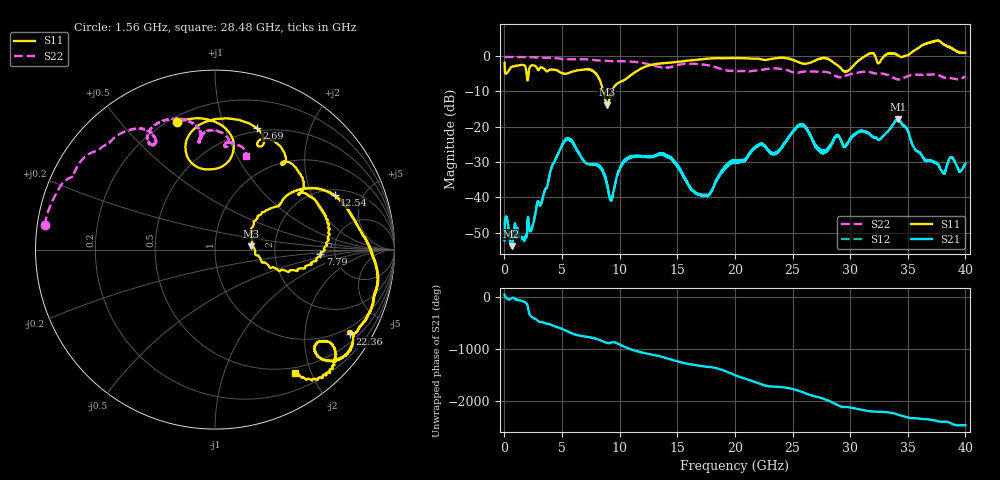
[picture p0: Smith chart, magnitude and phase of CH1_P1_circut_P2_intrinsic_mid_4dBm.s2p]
!Keysight Technologies,N5222B,MY61257109,A.17.25.03
!Date: Wednesday, July 22, 2026 17:36:06
!Correction: S11(C  2-Port  )
!S21(C  2-Port  )
!S12(C  2-Port  )
!S22(C  2-Port  )
!S2P File: Measurements: S11, S21, S12, S22:
# Hz S  dB  R 50
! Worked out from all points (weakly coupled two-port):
!   4000 points, 10 MHz to 40 GHz, reference 50 ohm
!   highest |S21| = -17.93 dB at 34.17 GHz (marker M1); lowest = -53.8 dB at 620 MHz (marker M2)
!   lowest |S11| = -13.8 dB at 8.87 GHz (marker M3), VSWR 1.51, Z = 75.4 + j3.06 ohm
!   |S11| at or under -10 dB: 8.567 GHz to 9.321 GHz (754 MHz wide, 8.43 % of centre)
!   |S22| runs from -6.7 to -0.3 dB; largest |S21 - S12| = 0.0057
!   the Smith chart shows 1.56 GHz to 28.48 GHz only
!   S11 on the Smith chart (normalised r, x): 1.56 GHz: 0.23, +0.72; 2.69 GHz: 0.46, +1.29; 7.79 GHz: 3.83, -0.30; 12.54 GHz: 2.29, +2.99; 22.36 GHz: 0.77, -3.32; 28.48 GHz: 0.42, -1.77
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1e7  -1.98 -53.2  -52.13 50.6  -51.30 50.2  -0.35 179.9
2.3e8  -4.80 -174.5  -46.13 -27.1  -46.18 -27.4  -0.33 178.8
6.2e8  -3.14 159.8  -53.77 -21.1  -53.71 -21.2  -0.33 176.7
1.56e9  -2.58 106.7  -51.26 -77.1  -51.25 -77.4  -0.36 171.8
2.69e9  -2.90 71.2  -44.37 -61.6  -44.37 -61.5  -0.43 165.8
5.22e9  -5.07 33.4  -23.95 85.3  -24.17 83.8  -0.96 153.2
6.68e9  -3.96 21.4  -28.67 -30.7  -28.80 -29.7  -0.95 147.3
7.79e9  -4.61 -2.5  -30.73 -72.7  -30.53 -71.8  -1.20 141.3
8.87e9  -13.80 5.5  -35.43 -160.9  -36.12 -159.6  -1.42 137.4
1.254e10  -2.71 24.4  -28.49 -16.3  -28.60 -16.6  -2.44 119.2
1.334e10  -2.25 16.9  -28.04 -53.1  -28.00 -53.1  -3.06 118.4
1.725e10  -0.94 -5.3  -39.64 106.3  -39.27 106.9  -2.45 104.6
2.001e10  -0.60 -20.8  -29.49 -64.1  -30.17 -64.5  -4.32 98.4
2.236e10  -1.07 -32.0  -25.15 113.0  -25.20 113.4  -3.93 96.8
2.667e10  -1.80 -39.3  -23.54 -96.6  -23.60 -96.8  -4.41 81.4
2.848e10  -1.73 -56.9  -24.57 125.6  -24.37 126.9  -5.22 71.5
3.016e10  -3.25 -33.9  -23.02 24.9  -23.08 24.8  -5.09 78.0
3.334e10  0.66 -48.7  -21.08 -64.1  -21.10 -64.2  -5.48 60.5
3.417e10  0.15 -57.9  -17.93 -107.6  -18.14 -107.7  -6.67 63.7
3.615e10  2.71 -55.4  -27.85 172.2  -27.67 172.0  -5.35 61.3
3.76e10  4.24 -81.7  -30.68 128.3  -30.68 128.9  -5.36 53.7
4e10  0.87 -100.3  -30.47 48.4  -30.48 48.6  -5.84 58.6
